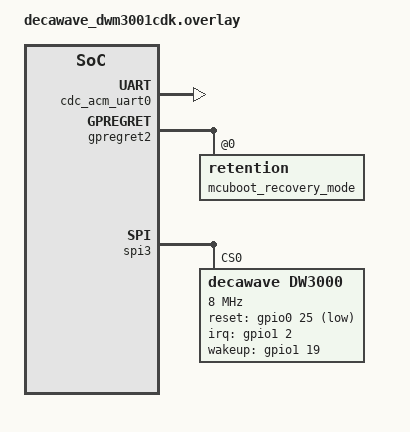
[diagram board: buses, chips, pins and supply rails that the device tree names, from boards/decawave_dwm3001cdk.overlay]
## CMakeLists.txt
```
# DWM3001CDK standalone credential lock: the reader engine, the CCC/FiRa responder,
# the DW3110 driver and the BLE stack in one nRF52833 image.
#
# ultrawidelock_uwb and modules/ultrawidelock_dw3000 come in as Zephyr modules because they carry their own
# Kconfig gating. modules/ultrawidelock_cred's reader core is listed
# directly here, the way tests/on_target/zephyr/nrf5340dk-ultrawidelock-device-ec does, so the nRF5340 build
# that consumes that module through CONFIG_ULTRAWIDELOCK_CRED_STACK stays untouched.
cmake_minimum_required(VERSION 3.20.0)

get_filename_component(REPO_ROOT "${CMAKE_CURRENT_LIST_DIR}/../.." ABSOLUTE)
# modules/ultrawidelock_cred supplies this app's Kconfig and its named primitive
# provider. The reader sources remain listed directly below; keeping
# CONFIG_ULTRAWIDELOCK_CRED_STACK=n prevents the credential library from being
# compiled a second time.
# modules/ultrawidelock_anchor is listed on the same terms: its CMakeLists is gated on
# CONFIG_ULTRAWIDELOCK_ANCHOR, which is default n, so listing it here costs the default
# build nothing and only makes `overlay-anchor.conf` able to turn it on.
# modules/ultrawidelock_ml likewise, gated on CONFIG_ULTRAWIDELOCK_ML_LOS: default n, so the shipping
# image is byte-identical without it and only overlays/mlgate.conf turns it on.
list(APPEND ZEPHYR_EXTRA_MODULES
	"${REPO_ROOT}/modules/ultrawidelock_cred"
	"${REPO_ROOT}/modules/ultrawidelock_anchor"
	"${REPO_ROOT}/modules/ultrawidelock_matter"
	"${REPO_ROOT}/modules/ultrawidelock_ml"
	"${REPO_ROOT}/modules/ultrawidelock_uwb"
	"${REPO_ROOT}/modules/ultrawidelock_dw3000"
	"${REPO_ROOT}/ports/zephyr")

find_package(Zephyr REQUIRED HINTS $ENV{ZEPHYR_BASE})
project(ultrawidelock_reader_dwm3001cdk)

# Faster UWB evidence settings are measurements, not release policy. Refuse a
# configuration that could lower either floor without both explicit bench
# acknowledgement and strict STS enforcement.
if((CONFIG_ULTRAWIDELOCK_RANGE_TRUST_K LESS 3 OR
    CONFIG_ULTRAWIDELOCK_APPROACH_NEAR_DWELL LESS 2) AND
   (NOT CONFIG_ULTRAWIDELOCK_BENCH OR NOT CONFIG_ULTRAWIDELOCK_RANGE_GATE_STRICT))
	message(FATAL_ERROR
		"Reduced UWB consensus/dwell requires CONFIG_ULTRAWIDELOCK_BENCH=y "
		"and CONFIG_ULTRAWIDELOCK_RANGE_GATE_STRICT=y")
endif()

# APPROTECT must never be locked on this board. SystemInit() re-asserts the lock
# on every boot and the only way out is `nrfjprog --recover`, which mass-erases
# flash AND UICR -- taking settings_storage at 0x7c000 with it, and with that the
# reader private key and every iPhone key already provisioned against this board.
#
# This is the configure-time half of the guard: it fails the build of THIS image
# before a hex exists. scripts/check-approtect.sh is the other half and is the
# one that covers MCUboot, whose config lives outside this CMakeLists entirely.
# Both are needed -- the setting can arrive from a board defconfig or an SoC
# default that no grep of this tree would find, which is why the check that
# matters reads the GENERATED .config.
if(CONFIG_NRF_APPROTECT_LOCK OR CONFIG_NRF_SECURE_APPROTECT_LOCK)
	message(FATAL_ERROR
		"APPROTECT lock is enabled for this image. Refusing to build.\n"
		"  CONFIG_NRF_APPROTECT_LOCK        = ${CONFIG_NRF_APPROTECT_LOCK}\n"
		"  CONFIG_NRF_SECURE_APPROTECT_LOCK = ${CONFIG_NRF_SECURE_APPROTECT_LOCK}\n"
		"Locking is a one-way door for this board's DATA: recovering debug "
		"access costs a mass erase of flash and UICR, which destroys "
		"settings_storage and the reader identity. Export it first with "
		"`ultrawidelock export yes` if you genuinely intend this.")
endif()

set(CRED "${REPO_ROOT}/modules/ultrawidelock_cred")
set(PORTZ "${REPO_ROOT}/ports/zephyr")

# Reader-role source sets come from the role manifests (modules/ultrawidelock_cred/
# roles/*.list) — the same lists the ESP32 components, the nRF5340 apps and the
# host suite read, so each role's file set exists in exactly one place. The
# crypto role is composition only; this image's PSA implementation is the
# named ultrawidelock_prim library contributed by the credential module.
include("${REPO_ROOT}/cmake/ultrawidelock_roles.cmake")
ultrawidelock_role_sources("${CRED}/roles/reader.list" ULTRAWIDELOCK_READER_SRCS)
ultrawidelock_role_sources("${CRED}/roles/reader_policy.list" ULTRAWIDELOCK_POLICY_SRCS)
ultrawidelock_role_sources("${CRED}/roles/apdu.list" ULTRAWIDELOCK_APDU_SRCS)
ultrawidelock_role_sources("${CRED}/roles/crypto.list" ULTRAWIDELOCK_CRYPTO_SRCS)
ultrawidelock_role_sources("${CRED}/roles/hash.list" ULTRAWIDELOCK_HASH_SRCS)
ultrawidelock_role_sources("${CRED}/roles/dyntag.list" ULTRAWIDELOCK_DYNTAG_SRCS)
ultrawidelock_role_sources("${CRED}/roles/ble_central.list" ULTRAWIDELOCK_BLE_CENTRAL_SRCS)

target_sources(app PRIVATE
	src/main.c
	src/ml_feed.c
	# Platform seams the reader engine links against, re-homed to ports/zephyr
	# with the rest of the Zephyr glue. Listed by path rather than compiled by
	# the ultrawidelock_zephyr_port module because they are unconditional app glue with
	# no Kconfig gate to ride — this app IS the gate.
	${PORTZ}/ble/ultrawidelock_ble_zephyr.c
	${PORTZ}/store/ultrawidelock_prov_settings.c
	# Reader engine: roles reader + reader_policy + apdu + crypto + hash + dyntag.
	${ULTRAWIDELOCK_READER_SRCS}
	${ULTRAWIDELOCK_POLICY_SRCS}
	${ULTRAWIDELOCK_APDU_SRCS}
	${ULTRAWIDELOCK_CRYPTO_SRCS}
	${ULTRAWIDELOCK_HASH_SRCS}
	${ULTRAWIDELOCK_DYNTAG_SRCS}
)
target_link_libraries(app PRIVATE ultrawidelock_prim)
if(CONFIG_ULTRAWIDELOCK_BENCH_CRED_O2)
	set_source_files_properties(
		"${CRED}/src/ultrawidelock_reader.c"
		"${CRED}/src/ultrawidelock_crypto.c"
		"${CRED}/src/ultrawidelock_hash.c"
		PROPERTIES COMPILE_OPTIONS "-O2")
	target_compile_options(ultrawidelock_prim PRIVATE -O2)
endif()
# Provisioning console (USB CDC-ACM, provisioning mode only). Dropped by
# 4bdfd44a, which replaced this line with the side_feed one below instead of
# adding it, and so deleted `ultrawidelock import/export/erase` from every build
# without deleting the file or the comment. Restored, and the two lines are kept
# apart so the next edit here cannot repeat it.
target_sources_ifdef(CONFIG_ULTRAWIDELOCK_PROV_CONSOLE app PRIVATE src/prov_shell.c)

# The side gate's bench feed: an RTT buffer drained by host tooling.
target_sources_ifdef(CONFIG_ULTRAWIDELOCK_SIDE_GATE app PRIVATE src/side_feed.c)
# The deployed witness transport. Separate from SIDE_GATE's bench feed: this
# one binds a Thread socket instead of draining an RTT buffer, so it is gated
# on its own symbol and the RTT path stays available for bench work.
target_sources_ifdef(CONFIG_ULTRAWIDELOCK_SEALED_LINK app PRIVATE src/witness_link.c)
# Measurement only; CONFIG_ULTRAWIDELOCK_THREAD_GATE defaults n so this is absent from
# every shipping image.
target_sources_ifdef(CONFIG_ULTRAWIDELOCK_THREAD_GATE app PRIVATE src/thread_gate.c)
# The two DoorLockAlarms, and the door-angle state they need. ANCHOR is default
# n, so the shipping image never compiles this. Both symbols, not just ANCHOR:
# the alarm is a Matter event, and `make reader ANCHOR=1` is an anchor build
# with no Matter node to carry one.
if(CONFIG_ULTRAWIDELOCK_ANCHOR AND CONFIG_ULTRAWIDELOCK_MATTER_BLE)
	target_sources(app PRIVATE src/door_alarm.c)
endif()
# The DFU receiver's BLE transport (ports/zephyr/dfu/dfu_ble_zephyr.c) and the
# rest of the gated Zephyr glue compile via the ultrawidelock_zephyr_port module under
# the same CONFIG symbols.
# The board's only output. NOT gated on the DFU receiver any more: the update
# window was the first thing worth showing, not the only one, and the `reader`
# image has no receiver and used to light nothing at all.
target_sources_ifdef(CONFIG_ULTRAWIDELOCK_STATUS_LED app PRIVATE src/status_led.c)
target_sources_ifdef(CONFIG_ULTRAWIDELOCK_CIRDIAG_CAPTURE app PRIVATE src/cirdiag_capture.c)
target_sources_ifdef(CONFIG_ULTRAWIDELOCK_CASE_BENCH app PRIVATE src/case_bench.c)
# Initiator (User-Device role) transport: ultrawidelock_zephyr_port compiles the central
# mirror of ultrawidelock_ble_zephyr.c under this gate; the platform-free advert/READ
# decoder it calls is the same translation unit the ESP32 port and the host
# suite compile.
target_sources_ifdef(CONFIG_ULTRAWIDELOCK_BLE_CENTRAL app PRIVATE ${ULTRAWIDELOCK_BLE_CENTRAL_SRCS})
# The commissioning policy half; its transport, Thread/fabric ports and fabric
# table store live in ports/zephyr/{matter,store} under the same gate.
target_sources_ifdef(CONFIG_ULTRAWIDELOCK_MATTER_BLE app PRIVATE
	src/matter_commission.c
	src/uwb_matter_presence.c)
# The client role: what turns the four protocol files in ultrawidelock_matter
# into a lock that unlocks another lock. Both symbols, not just the client one,
# for the same reason door_alarm.c needs both above: the routing hooks it
# depends on live in matter_commission.c.
if(CONFIG_ULTRAWIDELOCK_MATTER_CLIENT AND CONFIG_ULTRAWIDELOCK_MATTER_BLE)
	target_sources(app PRIVATE src/matter_client.c)
endif()

# CONFIG_MBEDTLS_MEMORY_DEBUG=y is a NO-OP in this build and sets no define.
# nrf_security only wires that symbol through configs/legacy_crypto_config.h.template
# (`#cmakedefine MBEDTLS_MEMORY_DEBUG`, line 1268); a PSA-only build
# (CONFIG_OBERON_ONLY_PSA_ENABLED) generates nrf-config.h from a different
# template that has no slot for it, so the Kconfig is accepted and silently
# dropped. The app then compiles against a declaration the library never
# defined and the link fails on mbedtls_memory_buffer_alloc_max_get.
#
# Define it for every target instead. Safe because the only struct it changes,
# buffer_alloc_ctx, is file-local to mbedtls/library/memory_buffer_alloc.c, so
# there is no layout to get out of step across compilation units.
if(CONFIG_ULTRAWIDELOCK_HEAP_PROBE)
	zephyr_compile_definitions(MBEDTLS_MEMORY_DEBUG)
endif()
# src for matter_commission.h (included by the re-homed ultrawidelock_ble_zephyr.c);
# ${PORTZ}/{matter,store} for the re-homed matter_ble_zephyr.h and
# matter_fab_settings.h, which main.c and matter_commission.c include
# regardless of CONFIG_ULTRAWIDELOCK_MATTER_BLE.
target_include_directories(app PRIVATE ${CRED}/include ${CRED}/src src
	${PORTZ}/matter ${PORTZ}/store)
```

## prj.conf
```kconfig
# DWM3001CDK standalone credential reader.
#
# The whole file is written against one constraint: 480 KB of code space, from
# the single-image partition layout in boards/decawave_dwm3001cdk.overlay. The
# stock board map would have given the app 224 KB, which is not enough. Every
# "=n" below is load-bearing, not tidiness.

CONFIG_SIZE_OPTIMIZATIONS=y

# The partition map has one application slot, so MCUboot has no sector-swap
# status to store. Keep imgtool's overflow check aligned with that mode: one
# sector reserves 60 B, still 12 B above MCUboot's 48 B runtime trailer. The
# default 128-sector check reserves 1,584 B for a swap this layout cannot do.
CONFIG_MCUBOOT_EXTRA_IMGTOOL_ARGS="--max-sectors 1"

# One-shot application -> MCUboot recovery request in nRF52833 GPREGRET2.
# A normal boot performs no wait; the runtime SW2 hold sets this byte first.
CONFIG_RETAINED_MEM=y
CONFIG_RETENTION=y
CONFIG_RETENTION_BOOT_MODE=y

# ---- BLE: peripheral only, one connection, no bonding -----------------------
# credential runs its own application-layer secure channel over the L2CAP CoC, so
# BLE pairing/bonding buys nothing and costs both flash and a walk-up prompt.
# The shipped ESP32-S3 reader is unpaired for the same reason and unlocks a
# real iPhone Wallet key.
CONFIG_BT=y
CONFIG_BT_PERIPHERAL=y
CONFIG_BT_CENTRAL=n
CONFIG_BT_OBSERVER=n
CONFIG_BT_BROADCASTER=y
# TWO SLOTS, NOT ONE, AND THE SECOND ONE IS THE UPDATE PATH.
#
# With a single slot the arithmetic is brutal and was not noticed until a board
# was in front of a browser: a connectable advertisement with no free slot would
# be a lie, so the port correctly stops advertising the moment anything connects
# -- and a board that is not advertising is not merely slow to find from Web
# Bluetooth, it is INVISIBLE. requestDevice() shows an empty chooser forever.
#
# So a lock doing its job, with a phone holding the link, could never be updated
# over the air. The one state in which an update is most wanted -- a deployed,
# in-use lock -- was the one state that excluded it. That is not a browser
# limitation and no amount of page work could have reached it.
#
# MEASURED on the bench 2026-08-27 by reading the port's own flags over SWD:
# s_conn_up=1, s_adv_running=0, steady, on a board that was powered, working and
# answering over its cable in the same minute.
#
# MEASURED COST, same tree, this symbol and the port's slot counting the only
# levers, thread+release+smp+lto:
#
#   one slot    406,468 B flash   118,776 B RAM (90.62%)
#   two slots   406,468 B flash   121,728 B RAM (92.87%)
#   cost              +0 B            +2,952 B
#
# That leaves 9,344 B of RAM free, which is the tightest this image has run in
# the shipping configuration -- though not the tightest recorded: the +client
# baseline in size-baseline.json already sits at 93.73%. Worth knowing before
# adding the next thing that wants RAM.
#
# The second slot costs RAM and buys the property the flasher page promises. It
# does NOT weaken anything: BT_MAX_PAIRED stays 0, nothing gains a security
# level, and the L2CAP server and GATT permissions are untouched. Two peers can
# now be connected at once, which is what lets an update happen next to a phone
# rather than instead of one.
CONFIG_BT_MAX_CONN=2
CONFIG_BT_MAX_PAIRED=0
# SMP is compiled in only because Zephyr makes L2CAP CoC depend on it
# (zephyr/subsys/bluetooth/host/Kconfig.l2cap:49) — NimBLE does not, which is
# why the ESP32 port never needed this. It is never exercised: the GATT
# characteristics carry no _ENC/_AUTHEN permission, the L2CAP server sits at
# BT_SECURITY_L1, and nothing calls bt_conn_set_security. So the reader still
# never asks a phone to pair, which is the property the live-iPhone unlock
# depends on. Costed at stage 0 rather than assumed away.
CONFIG_BT_SMP=y
CONFIG_BT_BONDABLE=n
CONFIG_BT_SIGNING=n
CONFIG_BT_GATT_CACHING=n
# The 0xFFF6 commissioning service is registered and withdrawn at runtime so
# the GATT table matches the advert -- see matter_ble_publish(). That is the
# only dynamic service on the board; everything else stays static.
#
# NOT A TIDINESS CHANGE. macOS refuses third-party descriptor discovery on the
# Matter UUIDs, Chromium's macOS backend never completes discovery after that
# error, and so a published 0xFFF6 costs this board every Web Bluetooth client
# on that host -- SMP firmware updates over the air included.
CONFIG_BT_GATT_DYNAMIC_DB=y
CONFIG_BT_DEVICE_NAME="ultrawidelock"

# Observe what the controller and peer actually negotiated. USER_* exposes the
# callbacks; stating AUTO_DATA_LEN_UPDATE keeps Zephyr's prior automatic DLE
# policy after USER_DATA_LEN_UPDATE is enabled. Shipping still requests no PHY
# change and keeps the controller data-length maximum at its 27-byte default;
# the 2M and 251-byte experiments live only in bench overlays.
CONFIG_BT_USER_DATA_LEN_UPDATE=y
CONFIG_BT_AUTO_DATA_LEN_UPDATE=y
CONFIG_BT_USER_PHY_UPDATE=y

# Connection interval: ask for 15-30 ms instead of riding whatever iOS picks.
#
# Every BLE flow on this board is round-trip bound, and one of them pays triple:
# the 255 B ACL buffer below splits a 512 B credential APDU across three PDUs, so an
# APDU costs up to three connection events in each direction. BTP fragments,
# CoC APDUs and DFU chunks all scale straight off the interval.
#
# This is Kconfig rather than a bt_conn_le_param_update() call BECAUSE of how
# the Zephyr peripheral works: that call does NOT send anything while the
# post-connect timer is still pending (host/conn.c:3786) -- it only stores the
# parameters for the timer to use. The request goes out when
# BT_CONN_PARAM_UPDATE_TIMEOUT fires, so the timeout IS the lever, and the PREF
# values are what gets sent. Adding a call site would have changed nothing.
#
# 300 ms rather than the stock 5,000: the whole walk-up transaction is ~650 ms,
# so a request at 5 s arrives after every flow it could have helped. The link
# layer needs >= 6 connection events of instant delay anyway, so the faster
# interval lands mid-transaction, not at its start.
#
# 12/24/0/200 = 15-30 ms, no latency, 2 s supervision. Valid per
# hci_core.c:1947-1960 and inside Apple's accessory guideline (min >= 15 ms,
# max >= min + 15 ms).
#
# MEASURED, and the reason the window is back to 12-24 rather than something
# cleverer: this iPhone grants 30 ms whatever it is asked for. Both 12-24 and
# 12-18 (a range whose only multiple of 15 ms is 15) came back as
# "interval 30.00 ms, latency 0, timeout 2000 ms" on 2026-08-06, on the
# commissioning link and again on the walk-up link. It honours the latency and
# the supervision timeout and picks the interval itself, so 30 ms is this
# phone's floor for this accessory and not a thing this end can bargain over.
# What survives is worth keeping -- 2 s of supervision instead of Zephyr's
# 420 ms default, and a request that arrives in time to matter if any other
# central (Android, a Home Assistant host, a controller doing DFU) does grant
# it -- but do not expect a faster walk-up from this knob on iOS.
CONFIG_BT_CONN_PARAM_UPDATE_TIMEOUT=300
CONFIG_BT_PERIPHERAL_PREF_MIN_INT=12
CONFIG_BT_PERIPHERAL_PREF_MAX_INT=24
CONFIG_BT_PERIPHERAL_PREF_LATENCY=0
CONFIG_BT_PERIPHERAL_PREF_TIMEOUT=200

# L2CAP CoC carries the credential transaction. 512-byte SDUs match the ESP port.
CONFIG_BT_L2CAP_DYNAMIC_CHANNEL=y
CONFIG_BT_L2CAP_TX_MTU=512
# Sized for a PDU, not an SDU. The host's HCI receive pool is UNIFIED and gives
# every buffer the largest of the ACL and event sizes (buf.h:165, buf.h:175), so
# a 527 B ACL buffer made all twelve cost 527 B: 6,384 B measured in .bss for a
# geometry only one of them needed. Nothing here reassembles into that pool --
# coc_alloc_buf() hands the host an s_coc_rx_pool buffer of its own and Zephyr
# builds the SDU there. At 255 the MPS falls to ~251, a 512 B SDU rides three
# PDUs instead of one, and the pool costs 3,060 B. The price is two extra
# connection events per credential APDU, which is nothing against a walk-up. BTP is
# untouched: it rides GATT at an ATT MTU of 247, which still fits one PDU.
CONFIG_BT_BUF_ACL_RX_SIZE=255
CONFIG_BT_BUF_ACL_TX_SIZE=251
# NOT raised, and worth a line so it is not tried again. CONFIG_BT_BUF_EVT_RX_SIZE
# cannot change what the controller checks: hci_driver.c compares against
# HCI_RX_BUF_SIZE = BT_BUF_RX_SIZE = MAX(ACL_RX_SIZE + 4, EVT_RX_SIZE + 2), which
# the 255 above already fixes at 259. Measured: raising it to 255 moved nothing
# and cost 752 B of RAM, a quarter of what this image has left.
CONFIG_BT_EATT=n

# ---- crypto -----------------------------------------------------------------
# nRF52833 has no CryptoCell, so PSA lands on the software nrf_oberon backend.
# That is a speed and flash cost, not a blocker. Same PSA_WANT set the nRF5340
# on-target EC self-test proved (tests/on_target/zephyr/nrf5340dk-ultrawidelock-device-ec/prj.conf).
CONFIG_NRF_SECURITY=y
CONFIG_MBEDTLS_PSA_CRYPTO_C=y
CONFIG_MBEDTLS_ENABLE_HEAP=y
# MEASURED, not argued. 16384 was a guess carried from the ESP port and it was
# the largest single object in .bss. With ULTRAWIDELOCK_HEAP_PROBE the peak across boot,
# PASE and a full CASE handshake is 228 B in 11 blocks -- reproduced on two
# independent runs, the second on a fully erased board with a new SRP key and a
# new node id. The Kconfig help for ULTRAWIDELOCK_HEAP_PROBE predicted this: the build
# is OBERON_ONLY_PSA_ENABLED with no MBEDTLS_BIGNUM_C or ECP_C, so ECDH and
# ECDSA run in driver stack buffers and only PSA key-slot material is ever
# mbedtls_calloc'd.
#
# 1024 kept 4.5x the measured peak, and it was not a fresh guess: the reader
# build was rebuilt at exactly that value and a live iPhone still unlocked, on a
# fresh session, for a saving of 15,360 B. CASE's own peak is 380 B, measured by
# ULTRAWIDELOCK_CASE_BENCH, so 1024 covered both users of this heap with room over.
#
# This line used to carry a caution -- "NOT cut to peak+2048: the one path this
# image cannot exercise is a credential unlock, because a Matter build carries no
# reader identity". That premise expired on 2026-08-02, when Apple Home began
# provisioning the reader itself and this image started doing full walk-up
# unlocks. The path the caution was about is now exercised by the very walk-up
# that validates every other RAM change, which is what makes the cut checkable
# rather than merely argued.
#
# 512 WAS TRIED ON 2026-08-03 AND BROKE MATTER OVER THREAD. Do not try it again
# without reading this, because the argument for it looks airtight and the
# failure lands nowhere near the heap.
#
# The 228 B peak above is real and was never wrong. What it does not cover is
# the one allocation this image makes rarely and cannot do without: creating a
# PERSISTENT PSA key. OpenThread's SRP client does exactly that -- this build
# has OPENTHREAD_CONFIG_PLATFORM_KEY_REFERENCES_ENABLE=1, so its ECDSA key is
# generated at PSA_KEY_LIFETIME_PERSISTENT (crypto_psa.c:591), which serialises
# the key, seals it with ChaCha20-Poly1305 and writes it through
# trusted_storage. None of that runs on the boot, PASE or CASE paths the 228 B
# was measured across, and none of it runs for a volatile key.
#
# MEASURED by srp_sign_self_test() in matter_commission.c: at 512 a volatile
# P-256 deterministic-ECDSA key generates, exports, imports and signs perfectly,
# and the identical sequence at persistent lifetime fails inside psa_generate_key
# with psa_status=-141, PSA_ERROR_INSUFFICIENT_MEMORY. Two log lines apart, same
# boot.
#
# WHAT IT LOOKS LIKE WHEN IT BREAKS, because it looks like anything but this.
# The board commissions over BLE, completes PASE, accepts AddNOC, attaches to
# Thread as a child and gets an off-mesh address -- and then never registers its
# name. OpenThread reports one value for it, kErrorFailed, which
# crypto_psa.c:22-34 maps every PSA error onto except two, and which
# dns_types.cpp:52-100 ALSO produces from a server SERVFAIL. So the log says
# "SRP registration FAILED (1) -- the commissioner cannot resolve this node",
# every finger points at the border router, and an afternoon goes into the
# network before anyone suspects a RAM constant.
CONFIG_MBEDTLS_HEAP_SIZE=1024

# PSA PERSISTENT-KEY STORAGE MUST STAY ON. Do not cut it, and here is the
# receipt, because the argument for cutting it is convincing and wrong.
#
# The argument: this image's PSA_WANT list above names no ChaCha, yet the build
# links a whole ChaCha20-Poly1305 -- MEASURED from the map, ocrypto_chacha20
# 874 B + ocrypto_poly1305 1,250 B + ocrypto_chacha20_poly1305 762 B = 2,886 B,
# before the ITS glue on top. It arrives because MBEDTLS_PSA_CRYPTO_STORAGE_C
# pulls in TRUSTED_STORAGE, whose AEAD backend has exactly one cipher choice
# (nrf/subsys/trusted_storage/Kconfig:84-98, no AES-GCM alternative to switch
# to). And nothing in modules/ or apps/dwm3001cdk-lock/src calls psa_set_key_id() or asks
# for PSA_KEY_LIFETIME_PERSISTENT: the reader identity and the Matter fabrics
# are settings-store data owned by ultrawidelock_prov_settings.c and
# matter_fab_settings.c, not by PSA. Total saving, measured: 6,480 B of flash.
#
# Why it is wrong: OPENTHREAD_CRYPTO_PSA=y, so OpenThread's own platform glue
# is the caller this tree cannot see. zephyr/modules/openthread/platform/
# crypto_psa.c:180 imports keys at PSA_KEY_LIFETIME_PERSISTENT, and :591
# generates the SRP ECDSA key that way UNCONDITIONALLY. With the storage gone
# they cannot succeed, and the node cannot hold a network key. Which
# psa_status_t comes back was NOT measured -- the failure below logs no status
# at all -- so do not quote one; the call sites are the evidence.
#
# The failure does not look like a crypto failure. MEASURED 2026-08-03: PASE
# completed, AddNOC returned status 0, the 107 B dataset was accepted, and then
# "Thread still detached after 20000 ms" with the commissioner giving up on the
# BLE link 18 s in. Nothing logged an error, because every layer that could
# have was upstream of the one that failed.
#
# Grep workspace/ before calling a PSA lifetime unused here. The tracked tree is
# not the whole caller set, and this cost a commissioning round to learn.

CONFIG_PSA_WANT_ALG_ECDSA=y
CONFIG_PSA_WANT_ALG_ECDH=y
CONFIG_PSA_WANT_KEY_TYPE_ECC_KEY_PAIR_GENERATE=y
CONFIG_PSA_WANT_KEY_TYPE_ECC_KEY_PAIR_IMPORT=y
CONFIG_PSA_WANT_KEY_TYPE_ECC_KEY_PAIR_EXPORT=y
CONFIG_PSA_WANT_KEY_TYPE_ECC_KEY_PAIR_DERIVE=y
CONFIG_PSA_WANT_KEY_TYPE_ECC_PUBLIC_KEY=y
CONFIG_PSA_WANT_ECC_SECP_R1_256=y
CONFIG_PSA_WANT_ALG_SHA_256=y
# No PSA_WANT_ALG_HKDF here on purpose. It depends on PSA_WANT_ALG_HMAC, which
# this image does not enable, so assigning it only produced a Kconfig warning
# and the value n -- psa_key_derivation_setup() returns PSA_ERROR_NOT_SUPPORTED.
# Nothing missed it: key derivation goes through ultrawidelock_hkdf()
# (modules/ultrawidelock_cred/src/ultrawidelock_hash.c), pure C11 and already linked. Turning the
# PSA one on would cost flash for a second implementation of RFC 5869.
CONFIG_PSA_WANT_ALG_CMAC=y
CONFIG_PSA_WANT_ALG_ECB_NO_PADDING=y
CONFIG_PSA_WANT_ALG_GCM=y
CONFIG_PSA_WANT_KEY_TYPE_AES=y
CONFIG_PSA_WANT_GENERATE_RANDOM=y

# ---- UWB: CCC/FiRa responder on the module's own DW3110 ---------------------
CONFIG_SPI=y
# ports/zephyr/dw3000/dw3000_spi.c uses spi_transceive_signal (the async API),
# same as the nRF5340 build does via scripts/nrf5340dk-build.sh.
CONFIG_SPI_ASYNC=y
CONFIG_DW3000=y
CONFIG_DW3000_CHIP_DW3000=y
CONFIG_ULTRAWIDELOCK_UWB=y
CONFIG_ULTRAWIDELOCK_UWB_RESPONDER=y
# Shipping rejects blocks that fail the calibrated STS-quality gate. Keep the
# module defaults of K=3 and the existing dwell unchanged; hardware calibration
# remains the release gate for the threshold itself.
CONFIG_ULTRAWIDELOCK_RANGE_GATE_STRICT=y
# Single-core SoC: BLE shares the core with the ranging callbacks, so the live
# DS-TWR timestamps get overwritten before Final_Data is processed (km-scale
# garbage). Use the same-round snapshot latched at Final RX, like the ESP path.
CONFIG_ULTRAWIDELOCK_UWB_FINAL_SNAPSHOT=y
CONFIG_ULTRAWIDELOCK_CRED=y

# ---- provisioning / trust store ---------------------------------------------
# CONFIG_MPSL_TIMESLOT_SESSION_COUNT is deliberately NOT set here, and it was
# set for a while by mistake. Flash writes do go through an MPSL timeslot on this
# board (SOC_FLASH_NRF_RADIO_SYNC_MPSL), but the driver brings its OWN session:
# mpsl_init.c:205 initialises MPSL with CONFIG_MPSL_TIMESLOT_SESSION_COUNT PLUS
# CONFIG_SOC_FLASH_NRF_RADIO_SYNC_MPSL_TIMESLOT_SESSION_COUNT, and the latter
# already defaults to 1 whenever flash sync is on. Adding one here buys a second
# session context nothing opens.
CONFIG_FLASH=y
CONFIG_FLASH_MAP=y
CONFIG_NVS=y
CONFIG_SETTINGS=y
CONFIG_SETTINGS_NVS=y

# ---- provisioning console (USB CDC-ACM, provisioning mode only) --------------
# The reader identity is per-device data in the settings store, so it has to be
# typed in at runtime. RTT is output-only and the J-Link VCOM belongs to the
# probe, so the input path is the second USB port, which is wired straight to
# the nRF52833. main() calls usb_enable() ONLY when SW2 is held through reset,
# so an operational boot pays the flash for this but never runs a USB interrupt
# next to the DW3110's delayed-TX window.
CONFIG_GPIO=y
CONFIG_SERIAL=y
CONFIG_USB_DEVICE_INITIALIZE_AT_BOOT=n
# The shell and USB sizes that this console needs live in Kconfig under
# CONFIG_ULTRAWIDELOCK_PROV_CONSOLE, with the measurement behind each one. They cannot
# sit here: a .conf assignment is unconditional, so a build that turns the
# console off (a Matter node self-provisions, and reader + console + Thread
# overflows RAM by 1,752 B anyway) would leave them unsatisfiable and NCS aborts
# on the Kconfig warning.
# Logs stay on RTT. CONFIG_LOG_MODE_MINIMAL writes straight to the console and
# does not drive backends, so a shell log backend would cost RAM and deliver
# nothing.
CONFIG_SHELL_LOG_BACKEND=n
CONFIG_SHELL_HISTORY=n
# The `ultrawidelock` command tree here is provisioning only (apps/dwm3001cdk-lock/src/
# prov_shell.c). ultrawidelock_uwb's console of the same name drives a radio that
# provisioning mode never starts.
CONFIG_ULTRAWIDELOCK_UWB_SHELL=n

# ---- what is deliberately absent --------------------------------------------
# Console stays on, but over RTT rather than UART (see logging below).
CONFIG_UART_CONSOLE=n
# MCUboot IS built, and this file no longer decides that: sysbuild.conf does,
# through SB_CONFIG_BOOTLOADER_MCUBOOT. Sysbuild pushes the answer down onto
# this image itself (zephyr/share/sysbuild/image_configurations/
# MAIN_image_default.cmake:8 calls set_config_bool on CONFIG_BOOTLOADER_MCUBOOT),
# and that assignment is applied AFTER prj.conf -- so a `=n` here would not win,
# it would just make this file lie about the image it describes.
#
# What it used to say, kept because the mechanism is still true and still the
# thing that surprises people: CONFIG_BOOTLOADER_MCUBOOT is what produces the
# flash map, not the DTS. With it off, Partition Manager gave `app`
# 0x0..0x7e000 (504 KB) and ignored the 224 KB dual-slot layout in the board
# DTS entirely. With it on, PM builds a bootloader map instead -- and because
# `app` no longer starts at 0 and must not swallow settings_storage, the map is
# now PINNED in pm_static.yml rather than derived. See that file for the sizes
# and boards/decawave_dwm3001cdk.overlay for why the DTS partition nodes remain
# inert either way.
#
# The application still has no SMP server: recovery lives in the bootloader,
# reachable at boot over the J-Link VCOM, and an operational image that also
# spoke mcumgr would be a second write path into its own flash for no gain.
CONFIG_MCUMGR=n

# ---- logging ----------------------------------------------------------------
# RTT, not UART: the delayed-TX reply window on this single-core part cannot
# afford a blocking console write. Minimal mode drops the deferred-logging
# machinery, which is the part that actually costs flash.
CONFIG_LOG=y
CONFIG_LOG_MODE_MINIMAL=y
CONFIG_LOG_DEFAULT_LEVEL=3
CONFIG_USE_SEGGER_RTT=y
CONFIG_RTT_CONSOLE=y
# 8 KB up-buffer, not the 1 KB default. RTT is this board's ONLY console, and
# the default policy is NO_BLOCK_SKIP: once the buffer fills, writes are
# silently DISCARDED. Boot output here exceeds 1 KB, so the default truncates
# mid-line and looks exactly like a hang -- it cost a debugging detour to learn.
# Deliberately not BLOCK_IF_FIFO_FULL: that never drops a byte, but it stalls
# the firmware forever when no debugger is draining the buffer.
CONFIG_SEGGER_RTT_BUFFER_SIZE_UP=8192
# Re-initialize the RTT control block unconditionally. The default here is
# STRONG_CHECK -- and it is the default precisely BECAUSE the RTT data sits in
# a custom section (zephyr/modules/segger/Kconfig:120), whose whole purpose is
# to "avoid re-init of Control Block if another program (e.g. bootloader) has
# already initialized it". That assumes a cooperative bootloader. Ours is not
# one: MCUboot here has no LOG, no PRINTK and no USE_SEGGER_RTT, so it never
# initializes RTT -- it just uses that RAM as ordinary BSS and stack.
#
# And it is the SAME RAM. segger_rtt.ld places the section (NOLOAD) sorted to
# RAM start, so the ring lands at 0x20000010 and the control block at
# 0x20002010, while MCUboot's own _image_ram_end is 0x200049c0. The bootloader
# spans both. Without this line the application finds a control block it
# declines to touch and streams MCUboot's leftover RAM to the console as
# binary garbage interleaved with real log lines.
#
# The cost is that the ring no longer survives a reset. That was already gone:
# MCUboot overwrites it on every boot, before this image runs at all.
CONFIG_SEGGER_RTT_INIT_MODE_ALWAYS=y

CONFIG_MAIN_STACK_SIZE=4096
CONFIG_SYSTEM_WORKQUEUE_STACK_SIZE=4096
CONFIG_HEAP_MEM_POOL_SIZE=4096
```

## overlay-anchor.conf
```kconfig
# Two-anchor geometry on the door node.
#
#   make build ANCHOR=1 CDK_BUILD=build/cdk-anchor
#
# Use ANCHOR=1 and not a hand-written CDK_CONF. CDK_CONF is the WHOLE overlay
# list, so setting it by hand drops whatever you forgot to repeat -- and the one
# most easily forgotten is overlay-lto.conf, which is worth about 41 KB of
# flash. It fails as a 39 KB regression attributed to whatever you were
# measuring, with no warning anywhere. Measured here the first time round.
#
# NOT in the default build, and that is the point: the shipping image stays
# byte-identical until someone decides to pay for this. Every symbol below is
# default n.
#
# What it buys: the second anchor's verdict gates UNLOCK_PREDICT (and only
# PREDICT), plus an impact/tamper interrupt from the accelerometer that is
# already linked into the image and currently does nothing.
#
# What it costs: measure it. `make cdk-size-check CDK_BUILD=build/cdk-anchor`
# against a build without this file is the only number worth quoting, because
# the CDK Matter image is the one where a new static allocation is a decision
# rather than a detail.
#
# Nothing feeds the satellite verdict yet -- Stage C owns the transport -- and
# that is a working state: with no report the verdict is UNKNOWN, UNKNOWN
# permits prediction, and the door behaves exactly as it does today.

CONFIG_ULTRAWIDELOCK_ANCHOR=y
CONFIG_ULTRAWIDELOCK_ANCHOR_SLAM=y

# The baseline is measured: 1400 mm centre-to-centre on the current bench.
# Re-measure whenever a board moves. The rest are still placeholders: the
# tolerance and dead band come from the ranging jitter stage A actually
# measures, not from the target it aims at; and the impact threshold has to
# come from a capture of this door being closed and slammed.
CONFIG_ULTRAWIDELOCK_ANCHOR_BASELINE_MM=1400
CONFIG_ULTRAWIDELOCK_ANCHOR_TOL_MM=90
CONFIG_ULTRAWIDELOCK_ANCHOR_DEADBAND_MM=60
CONFIG_ULTRAWIDELOCK_ANCHOR_STALE_MS=1500
CONFIG_ULTRAWIDELOCK_ANCHOR_SELF_INSIDE=y
CONFIG_ULTRAWIDELOCK_ANCHOR_SLAM_THRESHOLD_MG=2000
```

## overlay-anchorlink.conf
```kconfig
# The lock half of the two-anchor inside/outside product.
#
# Turns on the WV3 receive path: a sealed, replay-checked distance from the
# satellite (apps/satellite) reaches ultrawidelock_satellite_report()
# and is paired with this node's own measurement of the SAME ranging block. Two
# distances to one phone in one block is what makes a side decision possible.
#
# Needs the latch overlay alongside it, and that is a current limitation rather
# than a design choice: witness_link.c still holds the WV2 consumer inline, so
# the sealed link does not link without it (see ULTRAWIDELOCK_ANCHOR_LINK's help).
#
# Enrolling the key is a two-step dance because the Thread image has no shell:
#   1. flash the READER image, `ultrawidelock anckey <hex32>` over USB CDC
#   2. flash this image WITHOUT --erase, so the settings partition survives
# Give the satellite the same 32 hex characters with `sat key`.
#
# Build:
#   make build LATCH=1 CDK_BUILD=build/cdk-anchorlink \
#     CDK_CONF="overlay-thread.conf;overlay-latch.conf;overlays/bench-2resp.conf;\
#               overlay-anchorlink.conf;overlay-lto.conf"
# or just `make anchorlink`, which spells exactly that.
#
# THIS FILE CARRIES NO BENCH CALIBRATION. The anchor separation, the range
# bias and the frontier offset are properties of where the two boards are
# mounted, so they stay at their shipping Kconfig defaults here and a real
# install sets them. overlays/bench-anchorlink.conf layers this desk's numbers
# on top for bench work; never flash that on a door.
CONFIG_ULTRAWIDELOCK_ANCHOR_LINK=y

# bench-2resp.conf turns the console SAT-HANDOFF line on for `sat join` by
# hand; once the sealed link exists it carries the same handoff itself
# (cherry_ccc_shim.c calls it redundant), so the print only costs flash and
# discloses the URSK.
CONFIG_ULTRAWIDELOCK_SATELLITE_HANDOFF_LOG=n

# The console is RTT and nothing on this image opens a UART, so the serial
# driver stack is dead weight the linker cannot prove dead. Freed the room
# the channel classifier (overlays/mlgate.conf) needs to fit the MCUboot
# slot. If a UART consumer ever joins this stack, drop this line first.
CONFIG_SERIAL=n

# This production-style image keeps credential warnings and errors but drops
# the reader/ranging/BLE INFO trace. The two-anchor bench receipts (pair,
# witness, replay and fail-closed decisions) use their own modules and remain.
# Besides avoiding credential chatter on a console-less image, this recovers
# the MCUboot slot margin that Matter binding consumed; signing, not the
# linker's region percentage, is the final size gate.
CONFIG_ULTRAWIDELOCK_CRED_LOG_LEVEL_WRN=y

# Sized from measured jitter, which is what the Kconfig help asks for and the
# 90 default never was. Stage C put per-anchor sigma at 61-68 mm, so the
# DIFFERENCE of two anchors carries sigma ~= 92 mm and 250 is a shade under
# 3 sigma. This widens what counts as a possible pair; it does NOT rescue a
# pair that breaks the triangle inequality outright, which is what body
# blocking produces and what the gate must keep refusing.
CONFIG_ULTRAWIDELOCK_ANCHOR_TOL_MM=250
```

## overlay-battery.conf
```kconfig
# The lock on a battery. Layers on top of overlay-thread.conf.
#
#   make build BATTERY=1 RELEASE=1 SMP=1
#
# WHY THIS IS AN OVERLAY AND NOT THE DEFAULT. Every lever in here buys current
# by spending latency, and the base configuration spent measured effort buying
# that latency back. A mains-powered board should not pay for a battery it does
# not have, so the default is unchanged and a battery build opts in.
#
# THE BUDGET THIS IS WRITTEN AGAINST. 5,000 mAh nameplate, six months. That is
# 4,380 hours, so 1.14 mA with no margin at all. Derate for usable-to-cutoff
# (~85%), six months of Li-ion self-discharge (~15%) and cold, and the honest
# design target is about 3,500 mAh of real energy and 800 uA average.
#
# WHAT THIS OVERLAY CANNOT DO, AND IT IS THE LARGEST TERM. On a DWM3001CDK the
# on-board J-Link OB debugger draws on the order of 10-20 mA on its own, which
# is 12 to 25 TIMES the entire budget above, from a part whose only job is
# debugging. Add four LEDs and the dev-kit regulator and a stock CDK is 20-50x
# over before a single line of this firmware runs. No Kconfig can reach that.
#
# So: this overlay is necessary and nowhere near sufficient. It is worth roughly
# 2x. Getting off the dev kit is worth roughly 100x. See docs/power-baseline.md.

# ---- Thread: sleepy, not rx-on ---------------------------------------------
#
# THIS IS NO LONGER A LATENCY PREFERENCE, IT IS ARITHMETIC. The 802.15.4
# receiver at 100% duty is ~4.6-6.5 mA (MEASURED as a duty cycle: RADIO.STATE
# read 3 on 20 of 20 samples, docs/power-baseline.md §1). At 5 mA alone, 3,500
# mAh is gone in 29 days. Six months is unreachable with rx-on-when-idle, full
# stop, whatever else is optimised.
#
# 500 ms, NOT the 3000 that was tried and reverted. overlay-thread.conf:53
# records why: at POLL_PERIOD=3000 a hub-to-node message waited a mean 1,500 ms
# and the advertised SII paced every peer retransmit at 3.3 s or more. At 500 ms
# the mean wait is 250 ms, which is a different product. The estimated cost of
# the polling itself is ~25-35 uA, so the extra ten polls a second are nearly
# free -- the 3000 was never buying much power, it was just spending latency.
#
# THE THREE DECLARATIONS ALREADY AGREE AT 500, which is the part that usually
# goes wrong. This node states its availability in three places and they lie if
# they diverge:
#   1. the radio                ← this file, below
#   2. the SRP TXT record       ports/zephyr/matter/matter_thread_port.c:414  SII="500"
#   3. the Sigma2 session params modules/ultrawidelock_matter/src/matter_case.c:832  500
# (2) and (3) were already set to 500 when the node moved to MED, so this line
# makes the radio match what it has been advertising all along. Change the poll
# period without them and peers pace their retries against a fiction.
#
# WHAT THIS DOES NOT SLOW: the walk-up unlock. That path is BLE advertisement,
# connect, credential auth, then UWB ranging, and Thread is in none of it. What
# does get ~250 ms slower is Home-app tile taps, Siri, status refresh, and
# commissioning's post-BLE tail.
CONFIG_OPENTHREAD_MTD_SED=y
CONFIG_OPENTHREAD_POLL_PERIOD=500

# ---- BLE: two-rate advertising ---------------------------------------------
#
# The second-largest firmware term, and it was hiding. Continuous 30-60 ms
# connectable advertising costs an estimated 220-670 uA -- most of the 800 uA
# budget, spent on being findable at a door nobody is standing at. At the
# GAP-recommended slow pair (1.0-1.2 s) the same estimate is 10-30 uA.
#
# A flat slow interval would be wrong, which is why this is a window and not a
# constant: it would regress walk-up detection, Matter commissioning discovery
# and the Web Bluetooth chooser all at once. Instead the board advertises fast
# after boot and after every disconnect, then falls back.
#
# THE HONEST COST. A phone approaching a lock that has been idle for hours meets
# the slow rate, so first discovery takes ~1-3 s instead of well under 1 s. The
# fix for that is a wake trigger rather than a faster default -- the LIS2DH12 on
# the module is already driven by ports/zephyr/drivers/ultrawidelock_slam_lis2dh12.c
# at 10 Hz for ~2 uA, and handle-touch is a real signal. That is not wired here.
CONFIG_ULTRAWIDELOCK_BLE_ADV_SLOW=y
CONFIG_ULTRAWIDELOCK_BLE_ADV_FAST_WINDOW_S=30

# ---- LEDs, and there are TWO sets on this board ------------------------------
#
# An LED at 2-5 mA is several times the whole budget.
#
# The nRF52833's four (D9 green, D12 red, D11 red, D10 blue on P0.04/14/22/05).
#
# KEPT ON, WITH THE HEARTBEAT OFF, and the pair is the whole point. render() in
# src/status_led.c is
#
#     pat[LED_LOCK] = (sig & STATUS_LED_UNLOCKED) ? PAT_SOLID : PAT_IDLE;
#
# and PAT_IDLE is PAT_OFF when the heartbeat is compiled out. So the green lamp
# is solid while unlocked and dark while locked, which is the one piece of state
# a fielded lock should be able to show without a debugger attached. The other
# three are dark on a healthy commissioned board: ATTN only lights on a fault or
# while uncommissioned, RADIO only during a session, WINDOW only during an
# update or provisioning.
#
# So an idle locked board renders an all-static frame, the tick stops, and this
# costs nothing at all. The bill only arrives while something is happening:
#
#   green solid while unlocked   30 s x 10 unlocks/day at ~2.5 mA  ~9 uA average
#   red 4 Hz while ranging       ~5 s x 10/day at 50% duty         ~1 uA average
#
# About 10 uA against the 800 uA budget, or 1%, for the ability to see that a
# walk-up and a Home-app tile both really moved the bolt. That is a good trade
# and it is why the heartbeat -- which would run the tick forever at 1 blip per
# 2 s on a LOCKED board, the other 99% of the time -- is the half that goes.
CONFIG_ULTRAWIDELOCK_STATUS_LED=y
CONFIG_ULTRAWIDELOCK_STATUS_LED_HEARTBEAT=n

# The DW3110's own, which are a DIFFERENT CHIP and survive the line above. This
# was found the honest way: with STATUS_LED=n a red LED was still lit, and the
# nRF was demonstrably not driving it -- all four LED pins read PIN_CNF=0x02,
# the reset default, and P0.DIR had none of them as outputs.
#
# dwt_setleds(DWT_LEDS_ENABLE) points the radio's GPIO2/GPIO3 at its internal
# RXLED/TXLED, and to do it sets CLK_CTRL_GPIO_DCLK_EN and CLK_CTRL_LP_CLK_EN --
# a de-bounce clock and the low-power oscillator, running inside a part this
# overlay otherwise works hard to keep at 260 nA.
CONFIG_ULTRAWIDELOCK_UWB_LEDS=n
```

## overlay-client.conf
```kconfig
# The Matter CLIENT role: this lock opens ANOTHER Matter lock when the UWB gate
# fires. See docs/matter-binding.md.
#
# Additive. The node stays a full Door Lock server and everything it already
# does is unchanged; what this adds is the other direction. Off, not one byte of
# it is compiled, which is why it is an overlay rather than a default.
#
# MEASURED cost of the OpenThread DNS client this pulls in, on the
# thread+release+smp+lto image: 4,052 B of flash, 160 B of RAM. The client's own
# code is on top of that. Order it after overlay-release.conf so nothing it sets
# can be undone.
CONFIG_ULTRAWIDELOCK_MATTER_CLIENT=y
```

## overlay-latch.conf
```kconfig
# Inside veto: the lock refuses passive unlock for a phone it believes is indoors.
#
#   make build LATCH=1 CDK_BUILD=build/cdk-latch
#   make cdk-size CDK_SIZE_REPORTS=0 CDK_BUILD=build/cdk-latch
#
# Layers on top of the side gate rather than replacing it: the side filter
# still classifies each window, and the latch decides what a run of those
# classifications is allowed to authorise. Read docs/inside-latch.md first.
#
# Use LATCH=1 rather than hand-editing CDK_CONF (same trap as SIDE=1 and
# ANCHOR=1: dropping overlay-lto.conf costs ~41 KB).

CONFIG_ULTRAWIDELOCK_ANCHOR=y
CONFIG_ULTRAWIDELOCK_SIDE_GATE=y
CONFIG_ULTRAWIDELOCK_INSIDE_LATCH=y

# The deployed evidence path. Unlike overlay-side.conf this needs no debug
# probe and no host: the witnesses report over the Thread network the lock is
# already joined to.
CONFIG_ULTRAWIDELOCK_WITNESS_LINK_OT=y

# Deliberately NOT set, and the difference from overlay-side.conf is the point:
#
#   CONFIG_ULTRAWIDELOCK_SIDE_FEED_RTT   needs a J-Link held for the session
#   CONFIG_ULTRAWIDELOCK_SIDE_PEER_EMIT  logs the phone's private address
#
# The second one is not merely unshipped, it is unnecessary now. It existed so
# bench tooling could push the credential's address to the witnesses as a
# filter. The witnesses no longer filter by address and the lock no longer
# matches one: it picks the phone out of the room by correlating advertiser
# RSSI against its own authenticated UWB range (ultrawidelock_witness_pick.h).
# Nothing in this configuration knows or stores a phone identifier.

# Settings carries the latch records across reboots. Already y for Matter
# fabric storage in the Thread build; restated because the latch depends on it
# for a safety property, not for convenience.
CONFIG_SETTINGS=y

CONFIG_ULTRAWIDELOCK_LATCH_ENTRY_DWELL_MS=60000
CONFIG_ULTRAWIDELOCK_LATCH_CLEAR_WINDOWS=3
CONFIG_ULTRAWIDELOCK_LATCH_CLEAR_MIN_MM=3000
CONFIG_ULTRAWIDELOCK_LATCH_CLEAR_VALID_MS=10000
CONFIG_ULTRAWIDELOCK_WITNESS_NONCE_MS=30000
```

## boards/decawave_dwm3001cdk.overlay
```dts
/*
 * DWM3001CDK standalone credential reader — board overlay.
 *
 * Declare the DW3110 that is already wired inside the DWM3001C module. &spi3 is
 * enabled by the board with CS on P1.06; only the side-band GPIOs are ours to
 * add. Pin values are cross-checked between the upstream Zephyr board files and
 * Qorvo's own uwb_stack_llhw.cmake (DW3_QM33_SDK 1.1.1), which agree on all of:
 *   SCK P0.03 · MOSI P0.08 · MISO P0.29 · CS P1.06
 *   IRQ P1.02 · RESETn P0.25 · WAKEUP P1.19
 *
 * NOTE ON PARTITIONS. This overlay deliberately does NOT touch the flash map.
 * The board's DTS carries an MCUboot dual-slot layout whose app slot is only
 * 0x38000 (224 KB), but NCS builds this with Partition Manager, which ignores
 * the DTS partitions entirely and derives its own map. With
 * CONFIG_BOOTLOADER_MCUBOOT=n Partition Manager derives a map. The shipping
 * lock enables MCUboot and pins its actual map in ../pm_static.yml:
 *
 *     app              0x0a200..0x74000
 *     patch_staging    0x74000..0x7c000    32 KB
 *     settings_storage 0x7c000..0x80000    16 KB
 *
 * Verified by building with and without a DTS partition override: partitions.yml
 * came out byte-identical both ways, as did the memory report. So a DTS override
 * here would be inert and would mislead the next reader into thinking the app
 * slot depends on it. pm_static.yml is the knob Partition Manager actually
 * reads.
 */

/*
 * Provisioning console. The DWM3001CDK's second USB port goes straight to the
 * nRF52833's device interface, so CDC-ACM is the board's only input path (RTT
 * is output-only and uart0 belongs to the J-Link OB's VCOM). The shell is bound
 * here rather than to uart0 so that plugging in that port is what reaches the
 * console. main() only calls usb_enable() in provisioning mode, so this node is
 * inert on an operational boot.
 */
&zephyr_udc0 {
	cdc_acm_uart0: cdc_acm_uart0 {
		compatible = "zephyr,cdc-acm-uart";
	};
};

/ {
	chosen {
		zephyr,shell-uart = &cdc_acm_uart0;
		/* One-shot application request shared with MCUboot. GPREGRET2
		 * survives a warm reset and avoids the Nordic-owned GPREGRET1. */
		zephyr,boot-mode = &mcuboot_recovery_mode;
	};
};

&gpregret2 {
	mcuboot_recovery_mode: retention@0 {
		compatible = "zephyr,retention";
		status = "okay";
		reg = <0x0 0x1>;
	};
};

&spi3 {
	dw3000: dw3000@0 {
		compatible = "decawave,dw3000";
		reg = <0>;
		/* The module's SPI trace is short and internal, but hold the first
		 * bring-up at the same 8 MHz the seated DWM3000EVB is proven at.
		 * Raise only with a DEV_ID read loop as evidence. */
		spi-max-frequency = <8000000>;
		reset-gpios  = <&gpio0 25 GPIO_ACTIVE_LOW>;
		irq-gpios    = <&gpio1  2 GPIO_ACTIVE_HIGH>;
		wakeup-gpios = <&gpio1 19 GPIO_ACTIVE_HIGH>;
	};
};

&gpio1 {
	status = "okay";
};
```

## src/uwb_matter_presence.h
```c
#pragma once

#include <stdint.h>

#include "ultrawidelock_approach.h"

void uwb_matter_presence_init(void);
void uwb_matter_presence_update(const struct ultrawidelock_approach *approach,
				int32_t distance_cm, int64_t now_ms);
void uwb_matter_presence_clear(void);
```
